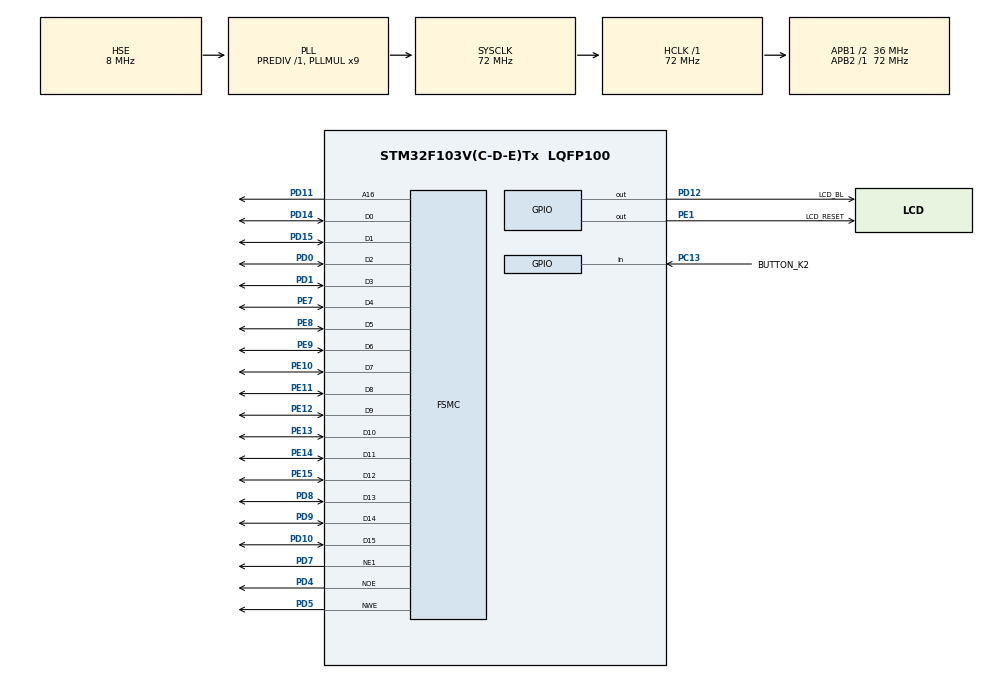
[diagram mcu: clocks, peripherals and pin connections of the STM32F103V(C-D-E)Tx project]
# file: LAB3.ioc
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Mcu.Family=STM32F1
Mcu.Name=STM32F103V(C-D-E)Tx
Mcu.Package=LQFP100
NVIC.PriorityGroup=NVIC_PRIORITYGROUP_4
OSC_IN.Mode=HSE-External-Oscillator
OSC_IN.Signal=RCC_OSC_IN
OSC_OUT.Mode=HSE-External-Oscillator
OSC_OUT.Signal=RCC_OSC_OUT
PA13.Mode=Serial_Wire
PA13.Signal=SYS_JTMS-SWDIO
PA14.Mode=Serial_Wire
PA14.Signal=SYS_JTCK-SWCLK
PC13-TAMPER-RTC.GPIO_Label=BUTTON_K2
PC13-TAMPER-RTC.GPIO_PuPd=GPIO_PULLDOWN
PC13-TAMPER-RTC.Signal=GPIO_Input
PC14-OSC32_IN.Mode=LSE-External-Oscillator
PC14-OSC32_IN.Signal=RCC_OSC32_IN
PC15-OSC32_OUT.Mode=LSE-External-Oscillator
PC15-OSC32_OUT.Signal=RCC_OSC32_OUT
PD0.Mode=16b-d1
PD0.Signal=FSMC_D2
PD1.Mode=16b-d1
PD1.Signal=FSMC_D3
PD10.Mode=16b-d1
PD10.Signal=FSMC_D15
PD11.Mode=A16_1
PD11.Signal=FSMC_A16
PD12.GPIO_Label=LCD_BL
PD12.GPIO_Speed=GPIO_SPEED_FREQ_HIGH
PD12.Signal=GPIO_Output
PD14.Mode=16b-d1
PD14.Signal=FSMC_D0
PD15.Mode=16b-d1
PD15.Signal=FSMC_D1
PD4.Mode=Lcd1
PD4.Signal=FSMC_NOE
PD5.Mode=Lcd1
PD5.Signal=FSMC_NWE
PD7.Mode=NorPsramChipSelect1_1
PD7.Signal=FSMC_NE1
PD8.Mode=16b-d1
PD8.Signal=FSMC_D13
PD9.Mode=16b-d1
PD9.Signal=FSMC_D14
PE1.GPIO_Label=LCD_RESET
PE1.GPIO_Speed=GPIO_SPEED_FREQ_HIGH
PE1.Signal=GPIO_Output
PE10.Mode=16b-d1
PE10.Signal=FSMC_D7
PE11.Mode=16b-d1
PE11.Signal=FSMC_D8
PE12.Mode=16b-d1
PE12.Signal=FSMC_D9
PE13.Mode=16b-d1
PE13.Signal=FSMC_D10
PE14.Mode=16b-d1
PE14.Signal=FSMC_D11
PE15.Mode=16b-d1
PE15.Signal=FSMC_D12
PE7.Mode=16b-d1
PE7.Signal=FSMC_D4
PE8.Mode=16b-d1
PE8.Signal=FSMC_D5
PE9.Mode=16b-d1
PE9.Signal=FSMC_D6
ProjectManager.HeapSize=0x200
ProjectManager.StackSize=0x400
ProjectManager.TargetToolchain=STM32CubeIDE
RCC.AHBFreq_Value=72000000
RCC.APB1CLKDivider=RCC_HCLK_DIV2
RCC.APB1Freq_Value=36000000
RCC.APB1TimFreq_Value=72000000
RCC.APB2Freq_Value=72000000
RCC.APB2TimFreq_Value=72000000
RCC.HCLKFreq_Value=72000000
RCC.PLLMUL=RCC_PLL_MUL9
RCC.PLLSourceVirtual=RCC_PLLSOURCE_HSE
RCC.SYSCLKFreq_VALUE=72000000
RCC.SYSCLKSource=RCC_SYSCLKSOURCE_PLLCLK
RCC.USBFreq_Value=72000000
board=custom

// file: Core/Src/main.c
/* USER CODE BEGIN Header */
/**
  ******************************************************************************
  * @file           : main.c
  * @brief          : Main program body
  ******************************************************************************
  * @attention
  *
  * Copyright (c) 2023 STMicroelectronics.
  * All rights reserved.
  *
  * This software is licensed under terms that can be found in the LICENSE file
  * in the root directory of this software component.
  * If no LICENSE file comes with this software, it is provided AS-IS.
  *
  ******************************************************************************
  */
/* USER CODE END Header */
#include "main.h"

/* USER CODE BEGIN Includes */
#include "stdbool.h"
#include "lcd.h"
#include "stdlib.h"
/* USER CODE END Includes */

/* USER CODE BEGIN PM */
#define LCD_MIN_COL    0
#define LCD_MIN_PAGE   0
#define LCD_MAX_COL    320
#define LCD_MAX_PAGE   240
/* USER CODE END PM */

 SRAM_HandleTypeDef hsram1;

void SystemClock_Config(void);
static void MX_GPIO_Init(void);
static void MX_FSMC_Init(void);

/* USER CODE BEGIN 0 */
// Random RGB565 Color Generator
inline uint16_t randomColor() {
  uint16_t color = 0;
  color |= (rand() % 32) << 11;
  color |= (rand() % 64) << 5;
  color |= (rand() % 32);
  return color;
}
/* USER CODE END 0 */

int main(void)
{

  /* MCU Configuration--------------------------------------------------------*/

  /* Reset of all peripherals, Initializes the Flash interface and the Systick. */
  HAL_Init();

  /* Configure the system clock */
  SystemClock_Config();

  /* Initialize all configured peripherals */
  MX_GPIO_Init();
  MX_FSMC_Init();
  /* USER CODE BEGIN 2 */
  LCD_INIT();
  /* USER CODE END 2 */

  /* Infinite loop */
  while (1)
  {

    /* USER CODE BEGIN 3 */
    for (int i = 0; i < 24; i++) {
      LCD_DrawString(0, i * 10, "This is an Apple One LCD testing program"); // 40 chars
    }
    HAL_Delay(5000);
    LCD_Clear(LCD_MIN_COL, LCD_MIN_PAGE, LCD_MAX_COL, LCD_MAX_PAGE, 0x0000);
    for (int i = 0; i < 24; i++) {
      char str[40];
      sprintf(str, "This is a line %d", i + 1);
      LCD_DrawString(0, (i * 10) % 240, str);
    }
    HAL_Delay(5000);
    LCD_Clear(LCD_MIN_COL, LCD_MIN_PAGE, LCD_MAX_COL, LCD_MAX_PAGE, 0x0000);
    // Print all ASCII characters
    for (int i = 0; i < 256; i++) {
      char str[2];
      str[0] = i;
      str[1] = '\0';
      LCD_DrawString((i % 40) * 8, (i / 40) * 10, str);
    }
    HAL_Delay(5000);
    LCD_Clear(LCD_MIN_COL, LCD_MIN_PAGE, LCD_MAX_COL, LCD_MAX_PAGE, 0x0000);
    for (int i = 0; i < 10; i++) {
      char str[40];
      for (int j = 0; j < 40; j++) {
        if (j % 2 == 0) {
          str[j] = '_';
        } else {
          str[j] = '@';
        }
      }
      for (int j = 0; j < 24; j++) {
        LCD_DrawString(0, j * 10, str);
      }
      HAL_Delay(1000);
      for (int j = 0; j < 40; j++) {
        if (j % 2 == 0) {
          str[j] = ' ';
        } else {
          str[j] = '@';
        }
      }
      for (int j = 0; j < 24; j++) {
        LCD_DrawString(0, j * 10, str);
      }
      HAL_Delay(1000);
    }
    /* USER CODE END 3 */
  }
}

void SystemClock_Config(void)
{
  RCC_OscInitTypeDef RCC_OscInitStruct = {0};
  RCC_ClkInitTypeDef RCC_ClkInitStruct = {0};

  /** Initializes the RCC Oscillators according to the specified parameters
  * in the RCC_OscInitTypeDef structure.
  */
  RCC_OscInitStruct.OscillatorType = RCC_OSCILLATORTYPE_HSE;
  RCC_OscInitStruct.HSEState = RCC_HSE_ON;
  RCC_OscInitStruct.HSEPredivValue = RCC_HSE_PREDIV_DIV1;
  RCC_OscInitStruct.HSIState = RCC_HSI_ON;
  RCC_OscInitStruct.PLL.PLLState = RCC_PLL_ON;
  RCC_OscInitStruct.PLL.PLLSource = RCC_PLLSOURCE_HSE;
  RCC_OscInitStruct.PLL.PLLMUL = RCC_PLL_MUL9;
  if (HAL_RCC_OscConfig(&RCC_OscInitStruct) != HAL_OK)
  {
    Error_Handler();
  }

  /** Initializes the CPU, AHB and APB buses clocks
  */
  RCC_ClkInitStruct.ClockType = RCC_CLOCKTYPE_HCLK|RCC_CLOCKTYPE_SYSCLK
                              |RCC_CLOCKTYPE_PCLK1|RCC_CLOCKTYPE_PCLK2;
  RCC_ClkInitStruct.SYSCLKSource = RCC_SYSCLKSOURCE_PLLCLK;
  RCC_ClkInitStruct.AHBCLKDivider = RCC_SYSCLK_DIV1;
  RCC_ClkInitStruct.APB1CLKDivider = RCC_HCLK_DIV2;
  RCC_ClkInitStruct.APB2CLKDivider = RCC_HCLK_DIV1;

  if (HAL_RCC_ClockConfig(&RCC_ClkInitStruct, FLASH_LATENCY_2) != HAL_OK)
  {
    Error_Handler();
  }
}

static void MX_GPIO_Init(void)
{
  GPIO_InitTypeDef GPIO_InitStruct = {0};

  /* GPIO Ports Clock Enable */
  __HAL_RCC_GPIOC_CLK_ENABLE();
  __HAL_RCC_GPIOE_CLK_ENABLE();
  __HAL_RCC_GPIOD_CLK_ENABLE();
  __HAL_RCC_GPIOA_CLK_ENABLE();

  /*Configure GPIO pin Output Level */
  HAL_GPIO_WritePin(LCD_BL_GPIO_Port, LCD_BL_Pin, GPIO_PIN_RESET);

  /*Configure GPIO pin Output Level */
  HAL_GPIO_WritePin(LCD_RESET_GPIO_Port, LCD_RESET_Pin, GPIO_PIN_RESET);

  /*Configure GPIO pin : BUTTON_K2_Pin */
  GPIO_InitStruct.Pin = BUTTON_K2_Pin;
  GPIO_InitStruct.Mode = GPIO_MODE_INPUT;
  GPIO_InitStruct.Pull = GPIO_PULLDOWN;
  HAL_GPIO_Init(BUTTON_K2_GPIO_Port, &GPIO_InitStruct);

  /*Configure GPIO pin : LCD_BL_Pin */
  GPIO_InitStruct.Pin = LCD_BL_Pin;
  GPIO_InitStruct.Mode = GPIO_MODE_OUTPUT_PP;
  GPIO_InitStruct.Pull = GPIO_NOPULL;
  GPIO_InitStruct.Speed = GPIO_SPEED_FREQ_HIGH;
  HAL_GPIO_Init(LCD_BL_GPIO_Port, &GPIO_InitStruct);

  /*Configure GPIO pin : LCD_RESET_Pin */
  GPIO_InitStruct.Pin = LCD_RESET_Pin;
  GPIO_InitStruct.Mode = GPIO_MODE_OUTPUT_PP;
  GPIO_InitStruct.Pull = GPIO_NOPULL;
  GPIO_InitStruct.Speed = GPIO_SPEED_FREQ_HIGH;
  HAL_GPIO_Init(LCD_RESET_GPIO_Port, &GPIO_InitStruct);

}

/* FSMC initialization function */
static void MX_FSMC_Init(void)
{

  FSMC_NORSRAM_TimingTypeDef Timing = {0};

  /** Perform the SRAM1 memory initialization sequence
  */
  hsram1.Instance = FSMC_NORSRAM_DEVICE;
  hsram1.Extended = FSMC_NORSRAM_EXTENDED_DEVICE;
  /* hsram1.Init */
  hsram1.Init.NSBank = FSMC_NORSRAM_BANK1;
  hsram1.Init.DataAddressMux = FSMC_DATA_ADDRESS_MUX_DISABLE;
  hsram1.Init.MemoryType = FSMC_MEMORY_TYPE_SRAM;
  hsram1.Init.MemoryDataWidth = FSMC_NORSRAM_MEM_BUS_WIDTH_16;
  hsram1.Init.BurstAccessMode = FSMC_BURST_ACCESS_MODE_DISABLE;
  hsram1.Init.WaitSignalPolarity = FSMC_WAIT_SIGNAL_POLARITY_LOW;
  hsram1.Init.WrapMode = FSMC_WRAP_MODE_DISABLE;
  hsram1.Init.WaitSignalActive = FSMC_WAIT_TIMING_BEFORE_WS;
  hsram1.Init.WriteOperation = FSMC_WRITE_OPERATION_ENABLE;
  hsram1.Init.WaitSignal = FSMC_WAIT_SIGNAL_DISABLE;
  hsram1.Init.ExtendedMode = FSMC_EXTENDED_MODE_DISABLE;
  hsram1.Init.AsynchronousWait = FSMC_ASYNCHRONOUS_WAIT_DISABLE;
  hsram1.Init.WriteBurst = FSMC_WRITE_BURST_DISABLE;
  /* Timing */
  Timing.AddressSetupTime = 15;
  Timing.AddressHoldTime = 15;
  Timing.DataSetupTime = 255;
  Timing.BusTurnAroundDuration = 15;
  Timing.CLKDivision = 16;
  Timing.DataLatency = 17;
  Timing.AccessMode = FSMC_ACCESS_MODE_A;
  /* ExtTiming */

  if (HAL_SRAM_Init(&hsram1, &Timing, NULL) != HAL_OK)
  {
    Error_Handler( );
  }

  /** Disconnect NADV
  */

  __HAL_AFIO_FSMCNADV_DISCONNECTED();

}

void Error_Handler(void)
{
  __disable_irq();
  while (1)
  {
  }
}
